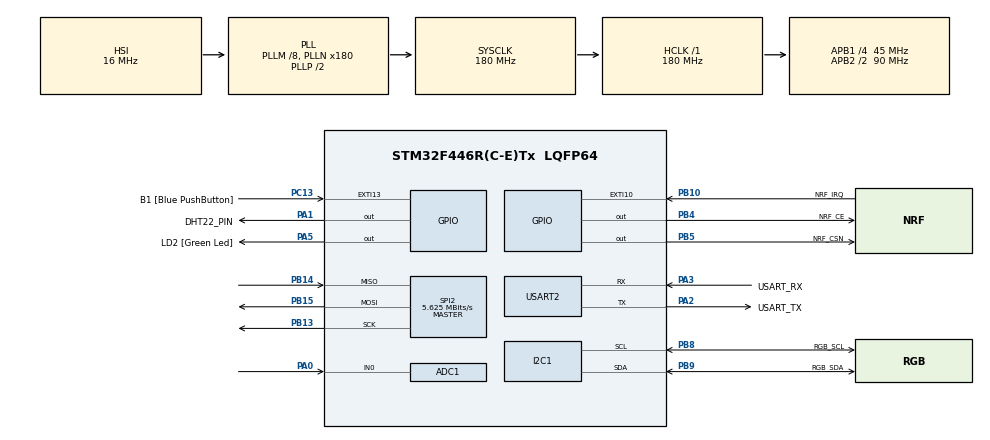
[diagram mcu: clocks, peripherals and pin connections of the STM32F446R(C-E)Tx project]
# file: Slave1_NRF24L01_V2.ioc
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ADC1.Channel-0\#ChannelRegularConversion=ADC_CHANNEL_0
ADC1.NbrOfConversionFlag=1
ADC1.Rank-0\#ChannelRegularConversion=1
ADC1.SamplingTime-0\#ChannelRegularConversion=ADC_SAMPLETIME_3CYCLES
ADC1.master=1
I2C1.I2C_Mode=I2C_Fast
Mcu.Family=STM32F4
Mcu.Name=STM32F446R(C-E)Tx
Mcu.Package=LQFP64
NVIC.EXTI15_10_IRQn=true\:0\:0\:false\:false\:true\:true\:true\:true
NVIC.PriorityGroup=NVIC_PRIORITYGROUP_0
PA0-WKUP.Signal=ADCx_IN0
PA1.GPIO_Label=DHT22_PIN
PA1.Signal=GPIO_Output
PA13.GPIO_Label=TMS
PA13.Mode=Serial_Wire
PA13.Signal=SYS_JTMS-SWDIO
PA14.GPIO_Label=TCK
PA14.Mode=Serial_Wire
PA14.Signal=SYS_JTCK-SWCLK
PA2.GPIO_Label=USART_TX
PA2.Mode=Asynchronous
PA2.Signal=USART2_TX
PA3.GPIO_Label=USART_RX
PA3.Mode=Asynchronous
PA3.Signal=USART2_RX
PA5.GPIO_Label=LD2 [Green Led]
PA5.Signal=GPIO_Output
PB10.GPIO_Label=NRF_IRQ
PB10.Signal=GPXTI10
PB13.Mode=Full_Duplex_Master
PB13.Signal=SPI2_SCK
PB14.Mode=Full_Duplex_Master
PB14.Signal=SPI2_MISO
PB15.Mode=Full_Duplex_Master
PB15.Signal=SPI2_MOSI
PB3.GPIO_Label=SWO
PB3.Signal=SYS_JTDO-SWO
PB4.GPIO_Label=NRF_CE
PB4.Signal=GPIO_Output
PB5.GPIO_Label=NRF_CSN
PB5.Signal=GPIO_Output
PB8.GPIO_Label=RGB_SCL
PB8.Mode=I2C
PB8.Signal=I2C1_SCL
PB9.GPIO_Label=RGB_SDA
PB9.Mode=I2C
PB9.Signal=I2C1_SDA
PC13.GPIO_Label=B1 [Blue PushButton]
PC13.GPIO_ModeDefaultEXTI=GPIO_MODE_IT_FALLING
PC13.Signal=GPXTI13
PC14-OSC32_IN.Mode=LSE-External-Oscillator
PC14-OSC32_IN.Signal=RCC_OSC32_IN
PC15-OSC32_OUT.Mode=LSE-External-Oscillator
PC15-OSC32_OUT.Signal=RCC_OSC32_OUT
PH0-OSC_IN.Mode=HSE-External-Oscillator
PH0-OSC_IN.Signal=RCC_OSC_IN
PH1-OSC_OUT.Mode=HSE-External-Oscillator
PH1-OSC_OUT.Signal=RCC_OSC_OUT
ProjectManager.HeapSize=0x200
ProjectManager.StackSize=0x400
ProjectManager.TargetToolchain=STM32CubeIDE
RCC.48MHZClocksFreq_Value=84000000
RCC.AHBFreq_Value=180000000
RCC.APB1CLKDivider=RCC_HCLK_DIV4
RCC.APB1Freq_Value=45000000
RCC.APB1TimFreq_Value=90000000
RCC.APB2CLKDivider=RCC_HCLK_DIV2
RCC.APB2Freq_Value=90000000
RCC.APB2TimFreq_Value=180000000
RCC.CortexFreq_Value=180000000
RCC.FLatency-AdvancedSettings=FLASH_LATENCY_5
RCC.HCLKFreq_Value=180000000
RCC.HSE_VALUE=8000000
RCC.HSI_VALUE=16000000
RCC.PLLM=8
RCC.PLLN=180
RCC.SYSCLKFreq_VALUE=180000000
RCC.SYSCLKSource=RCC_SYSCLKSOURCE_PLLCLK
RCC.USBFreq_Value=180000000
RCC.VCOOutputFreq_Value=360000000
RTC.Date=25
RTC.Hours=10
RTC.Month=RTC_MONTH_APRIL
RTC.WeekDay=RTC_WEEKDAY_SATURDAY
RTC.Year=24
SH.ADCx_IN0.0=ADC1_IN0,IN0
SPI2.BaudRatePrescaler=SPI_BAUDRATEPRESCALER_8
SPI2.CalculateBaudRate=5.625 MBits/s
SPI2.Direction=SPI_DIRECTION_2LINES
SPI2.Mode=SPI_MODE_MASTER
SPI2.VirtualType=VM_MASTER
TIM6.Period=0xffff-1
TIM6.Prescaler=90
USART2.VirtualMode=VM_ASYNC
VP_RTC_VS_RTC_Activate.Mode=RTC_Enabled
VP_RTC_VS_RTC_Calendar.Mode=RTC_Calendar
VP_TIM6_VS_ClockSourceINT.Mode=Enable_Timer
board=NUCLEO-F446RE

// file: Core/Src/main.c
/* USER CODE BEGIN Header */
/**
 ******************************************************************************
 * @file           : main.c
 * @brief          : Main program body
 ******************************************************************************
 * @attention
 *
 * Copyright (c) 2024 STMicroelectronics.
 * All rights reserved.
 *
 * This software is licensed under terms that can be found in the LICENSE file
 * in the root directory of this software component.
 * If no LICENSE file comes with this software, it is provided AS-IS.
 *
 ******************************************************************************
 */
/* USER CODE END Header */
#include "main.h"
#include "adc.h"
#include "i2c.h"
#include "rtc.h"
#include "spi.h"
#include "tim.h"
#include "usart.h"
#include "gpio.h"

/* USER CODE BEGIN Includes */

#include "MY_NRF24.h"
#include "RGB.h"
#include "stdio.h"
#include <stdbool.h> // Include for boolean type
#include <string.h>

/* USER CODE END Includes */

/* USER CODE BEGIN PV */

// commands
#define LED_ON "LED_ON"
#define LED_OFF "LED_OFF"
#define POWER_1 "P_1"
#define POWER_2 "P_2"
#define POWER_3 "P_3"
// -----------------------LED commands-----------------------//
#define LED 4
#define LEDUP 0
#define LEDDOWN 1
// ---------------------------------------------------------//

// -----------------------------------------------------------------------//

char time[10];
char date[10];

#define TX_MODE 1
#define RX_MODE 0
#define DATARATE RF24_250KBPS

// AnlyseThePayload
volatile uint8_t Anlyse ;

// Define the transmission pipe address
uint64_t Addr = 0x11223344AA;

// Define an array to store transmission data with an initial value "SEND"
uint8_t RH1, RH2, TC1, TC2, SUM, CHECK;
float tCelsius, tFahrenheit, RH;
uint32_t Value = 0;
uint8_t R, G, B;
uint8_t payload[32];

// Define an array to store acknowledgment payload
char AckPayload[32];

// Define an array to store received data
char myRxData[32];

// Define an acknowledgment payload with an initial value "Ack by Master !!"
char myAckPayload[32] = "Ack by Node 0";

int count = 0;

/* USER CODE END PV */

void SystemClock_Config(void);

/* USER CODE BEGIN 0 */

// Function to configure NRF24 module for transmit mode without acknowledgment
void nrf24_config_mode(bool transmit_mode) {
	// Print information about entering transmit mode without acknowledgment
	//printf("________________________Tx Mode________________________ \n\r");

	if (transmit_mode) {
		// Stop listening for incoming data
		NRF24_stopListening();

		// Set writing pipe address to TxpipeAddrs
		NRF24_openWritingPipe(Addr);
	} else{
		// Start listening for incoming data
		NRF24_startListening();
		// Open reading pipe with address RxpipeAddrs
		NRF24_openReadingPipe(1, Addr);

	}

	// Enable auto acknowledgment
	NRF24_setAutoAck(true);

	// Set channel to 52
	NRF24_setChannel(52);

	// Set payload size to 32 bytes
	NRF24_setPayloadSize(32);

	// Enable dynamic payloads
	NRF24_enableDynamicPayloads();

	// Enable acknowledgment payloads
	NRF24_enableAckPayload();

}

bool Payload_charge_simulate(uint8_t *payload, uint8_t len) {

	uint8_t test_bit = 0;
	// Check for valid payload pointer and length
	if (payload == NULL || len < 11) {
		return false; // Indicate error (invalid payload or insufficient size)
	}

	// Directly access payload elements without unnecessary array indexing
	if (dht22_readings()) {
		// Copy sensor data directly
		payload[1] = RH1;
		payload[2] = RH2;
		payload[3] = TC1;
		payload[4] = TC2;
		test_bit = test_bit + 1;
	}
	if (HAL_ADC_Start(&hadc1) == HAL_OK) {
		HAL_ADC_PollForConversion(&hadc1, 100);
		Value = HAL_ADC_GetValue(&hadc1);
		payload[5] = Value;
		test_bit = test_bit + 2;
	}
	if (getRGB(&R, &G, &B) != 0) {

		payload[6] = R;
		payload[7] = G;
		payload[8] = B;
		test_bit = test_bit + 3;
	}
	payload[0] = test_bit;

	return true; // Indicate successful payload population
}

bool Send_Data(void) {
	nrf24_config_mode(TX_MODE);
	// Variable to track the status of data transmission
	bool send_stat = false;

	// Loop indefinitely until acknowledgment is sent or a timeout occurs
	int coun = 0;
	while (coun < 5) {

		printf("Waiting for acknowledgement... (Attempt %d)\n", coun);
		HAL_Delay(10);

		// Attempt to write data to NRF24 module
		if (NRF24_write(payload, 32)) {
			// If data is successfully written, read acknowledgment payload
			NRF24_read(AckPayload, 32);
			if (strlen(AckPayload) != 0) {
				printf("Master acknowledgement : %s \r\n", AckPayload);
				send_stat = true;
				break;
			}

		}

		// If acknowledgment transmission fails, wait for a short period before retrying
		coun++;
	}

	// Return the status of data transmission
	return send_stat;
}

uint8_t AnalyseThePayload(uint8_t *rxPayload) {
	// Check the first byte of the payload for an error flag (assuming 0 indicates error)
	if (strcmp(rxPayload, LED_ON) == 0)
	{
		HAL_GPIO_WritePin(GPIOA, GPIO_PIN_5, SET);
	}else if (strcmp(rxPayload, LED_OFF) == 0)
    {
		HAL_GPIO_WritePin(GPIOA, GPIO_PIN_5, RESET);
    }else if (strcmp(rxPayload, POWER_1) == 0)
    {
    	NRF24_setPALevel(RF24_PA_m18dB);
    }else if (strcmp(rxPayload, POWER_2) == 0)
    {
    	NRF24_setPALevel(RF24_PA_m6dB);
    }else if (strcmp(rxPayload, POWER_3) == 0)
    {
    	NRF24_setPALevel(RF24_PA_0dB);
    }else
    {
    	printf("No Command from the master \n");
	}
    return 1;
}

/*
 * Function: Receive_Data
 * Description: Receives data from Node 1 using NRF24 module.
 * Parameters: None
 * Returns: bool - Indicates whether data was received successfully or not
 */
bool Receive_Data(void) {

	nrf24_config_mode(RX_MODE);

	// Variable to track the status of data reception
	bool receive_stat = false;

	while (1) {
		//printf("Waiting for Master request ... \n");
		// Check if there is data available to read
		if (NRF24_available()) {
			// Read data from NRF24 module
			NRF24_read(myRxData, 32);

			// Send acknowledgment payload to Node 1
			NRF24_writeAckPayload(1, myAckPayload, 32);

			// Print the received data
			count++;

			// Set receive_stat to true to indicate successful data reception
			receive_stat = true;
			break;
		}

	}

	// Return the status of data reception
	return receive_stat;
}

void setup(void) {
	// Initialize NRF24 module
	NRF24_Init();

	nrf24_config_mode(RX_MODE);

	// Print information about entering receive mode with acknowledgment
	printf(
			"________________________Engaging communication channels...________________________ \n\r");

	// Print current radio settings
	printRadioSettings();
}

void loop(void) {

	Payload_charge_simulate(payload, 32);
	// Check if data is received successfully
	if (Receive_Data()) {
		printf("Payload : %d | %d | %d | %d | %d | %d | %d | %d | %d | \n\r", payload[0], payload[1], payload[2], payload[3], payload[4], payload[5], payload[6], payload[7], payload[8]);
		// Check if acknowledgment is sent successfully
			Send_Data();

		// Delay for 100 milliseconds before breaking out of the loop
	}
	AnalyseThePayload(myRxData);
	HAL_Delay(200);

}

/* USER CODE END 0 */

int main(void)
{

  /* MCU Configuration--------------------------------------------------------*/

  /* Reset of all peripherals, Initializes the Flash interface and the Systick. */
  HAL_Init();

  /* Configure the system clock */
  SystemClock_Config();

  /* Initialize all configured peripherals */
  MX_GPIO_Init();
  MX_USART2_UART_Init();
  MX_SPI2_Init();
  MX_TIM6_Init();
  MX_RTC_Init();
  MX_ADC1_Init();
  MX_I2C1_Init();
  /* USER CODE BEGIN 2 */
	HAL_TIM_Base_Start(&htim6);
	if (HAL_RTCEx_BKUPRead(&hrtc, RTC_BKP_DR1) != 0x32F2) {
		set_time();
	}
	/*
	 * Description: This block of code initializes the NRF24 module, enters receive mode,
	 *              and prints current radio settings.
	 */
	setup();

  /* USER CODE END 2 */

  /* Infinite loop */
  /* USER CODE BEGIN WHILE */
	while (1) {

		loop();

    /* USER CODE END WHILE */

	}
}

void SystemClock_Config(void)
{
  RCC_OscInitTypeDef RCC_OscInitStruct = {0};
  RCC_ClkInitTypeDef RCC_ClkInitStruct = {0};

  /** Configure the main internal regulator output voltage
  */
  __HAL_RCC_PWR_CLK_ENABLE();
  __HAL_PWR_VOLTAGESCALING_CONFIG(PWR_REGULATOR_VOLTAGE_SCALE1);

  /** Initializes the RCC Oscillators according to the specified parameters
  * in the RCC_OscInitTypeDef structure.
  */
  RCC_OscInitStruct.OscillatorType = RCC_OSCILLATORTYPE_HSI|RCC_OSCILLATORTYPE_LSI;
  RCC_OscInitStruct.LSEState = RCC_LSE_ON;
  RCC_OscInitStruct.HSIState = RCC_HSI_ON;
  RCC_OscInitStruct.HSICalibrationValue = RCC_HSICALIBRATION_DEFAULT;
  RCC_OscInitStruct.LSIState = RCC_LSI_ON;
  RCC_OscInitStruct.PLL.PLLState = RCC_PLL_ON;
  RCC_OscInitStruct.PLL.PLLSource = RCC_PLLSOURCE_HSI;
  RCC_OscInitStruct.PLL.PLLM = 8;
  RCC_OscInitStruct.PLL.PLLN = 180;
  RCC_OscInitStruct.PLL.PLLP = RCC_PLLP_DIV2;
  RCC_OscInitStruct.PLL.PLLQ = 2;
  RCC_OscInitStruct.PLL.PLLR = 2;
  if (HAL_RCC_OscConfig(&RCC_OscInitStruct) != HAL_OK)
  {
    Error_Handler();
  }

  /** Activate the Over-Drive mode
  */
  if (HAL_PWREx_EnableOverDrive() != HAL_OK)
  {
    Error_Handler();
  }

  /** Initializes the CPU, AHB and APB buses clocks
  */
  RCC_ClkInitStruct.ClockType = RCC_CLOCKTYPE_HCLK|RCC_CLOCKTYPE_SYSCLK
                              |RCC_CLOCKTYPE_PCLK1|RCC_CLOCKTYPE_PCLK2;
  RCC_ClkInitStruct.SYSCLKSource = RCC_SYSCLKSOURCE_PLLCLK;
  RCC_ClkInitStruct.AHBCLKDivider = RCC_SYSCLK_DIV1;
  RCC_ClkInitStruct.APB1CLKDivider = RCC_HCLK_DIV4;
  RCC_ClkInitStruct.APB2CLKDivider = RCC_HCLK_DIV2;

  if (HAL_RCC_ClockConfig(&RCC_ClkInitStruct, FLASH_LATENCY_5) != HAL_OK)
  {
    Error_Handler();
  }
}

void Error_Handler(void)
{
	__disable_irq();
	while (1) {
	}
}
